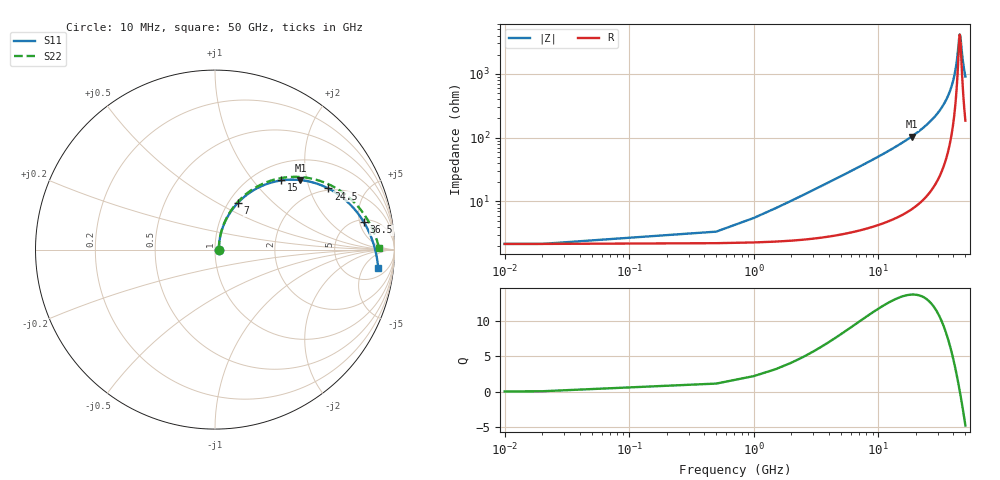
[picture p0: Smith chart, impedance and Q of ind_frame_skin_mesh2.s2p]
! Created with skrf 2.1.0 (http://scikit-rf.org).
# GHz S DB R 50.0
! Port[1] = P1
! Port[2] = P2
!freq dBS11 angS11 dBS21 angS21 dBS12 angS12 dBS22 angS22
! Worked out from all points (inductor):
!   102 points, 10 MHz to 50 GHz, reference 50 ohm
!   read as 1/Y11, port 2 shorted: L = 788 pH near 1.5 GHz
!   highest Q = 13.8 at 18.5 GHz (marker M1), where L = 892 pH
!   self-resonance near 45 GHz
!   S11 on the Smith chart (normalised r, x): 10 MHz: 1.04, +0.00; 7 GHz: 1.10, +0.63; 15 GHz: 1.31, +1.41; 24.5 GHz: 1.93, +2.71; 36.5 GHz: 5.54, +5.84; 50 GHz: 9, -11
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0.01  -33.54 1.2  -0.18 -0.0  -0.18 -0.0  -33.54 1.2
0.5  -30.21 44.4  -0.19 -1.6  -0.19 -1.6  -30.21 44.4
1  -26.18 60.7  -0.21 -3.1  -0.21 -3.1  -26.18 60.8
1.5  -23.18 66.9  -0.23 -4.6  -0.23 -4.6  -23.18 67.1
2  -20.89 69.6  -0.25 -6.1  -0.25 -6.1  -20.89 69.8
2.5  -19.08 70.6  -0.28 -7.5  -0.28 -7.5  -19.08 70.8
3.5  -16.32 70.4  -0.35 -10.4  -0.35 -10.4  -16.32 70.8
4.5  -14.27 69.1  -0.43 -13.2  -0.43 -13.2  -14.28 69.6
5.5  -12.67 67.2  -0.52 -16.0  -0.52 -16.0  -12.67 67.8
7  -10.78 64.0  -0.68 -20.0  -0.68 -20.0  -10.79 64.8
8.5  -9.31 60.6  -0.87 -23.9  -0.87 -23.9  -9.32 61.6
11.5  -7.16 53.8  -1.30 -31.3  -1.30 -31.3  -7.17 55.1
15  -5.44 46.2  -1.89 -39.2  -1.89 -39.2  -5.45 48.0
17  -4.71 42.1  -2.25 -43.4  -2.25 -43.4  -4.72 44.1
18.5  -4.24 39.1  -2.53 -46.3  -2.53 -46.3  -4.25 41.4
24.5  -2.88 28.3  -3.72 -57.2  -3.72 -57.2  -2.89 31.4
25.5  -2.71 26.7  -3.92 -58.8  -3.92 -58.8  -2.72 29.8
29.5  -2.15 20.3  -4.74 -65.1  -4.74 -65.1  -2.16 24.1
33.5  -1.73 14.5  -5.58 -70.8  -5.58 -70.8  -1.74 18.8
36.5  -1.48 10.4  -6.21 -74.7  -6.21 -74.7  -1.49 15.1
42  -1.12 3.2  -7.39 -81.6  -7.39 -81.6  -1.13 8.9
50  -0.77 -6.5  -9.17 -90.7  -9.17 -90.7  -0.78 0.5
